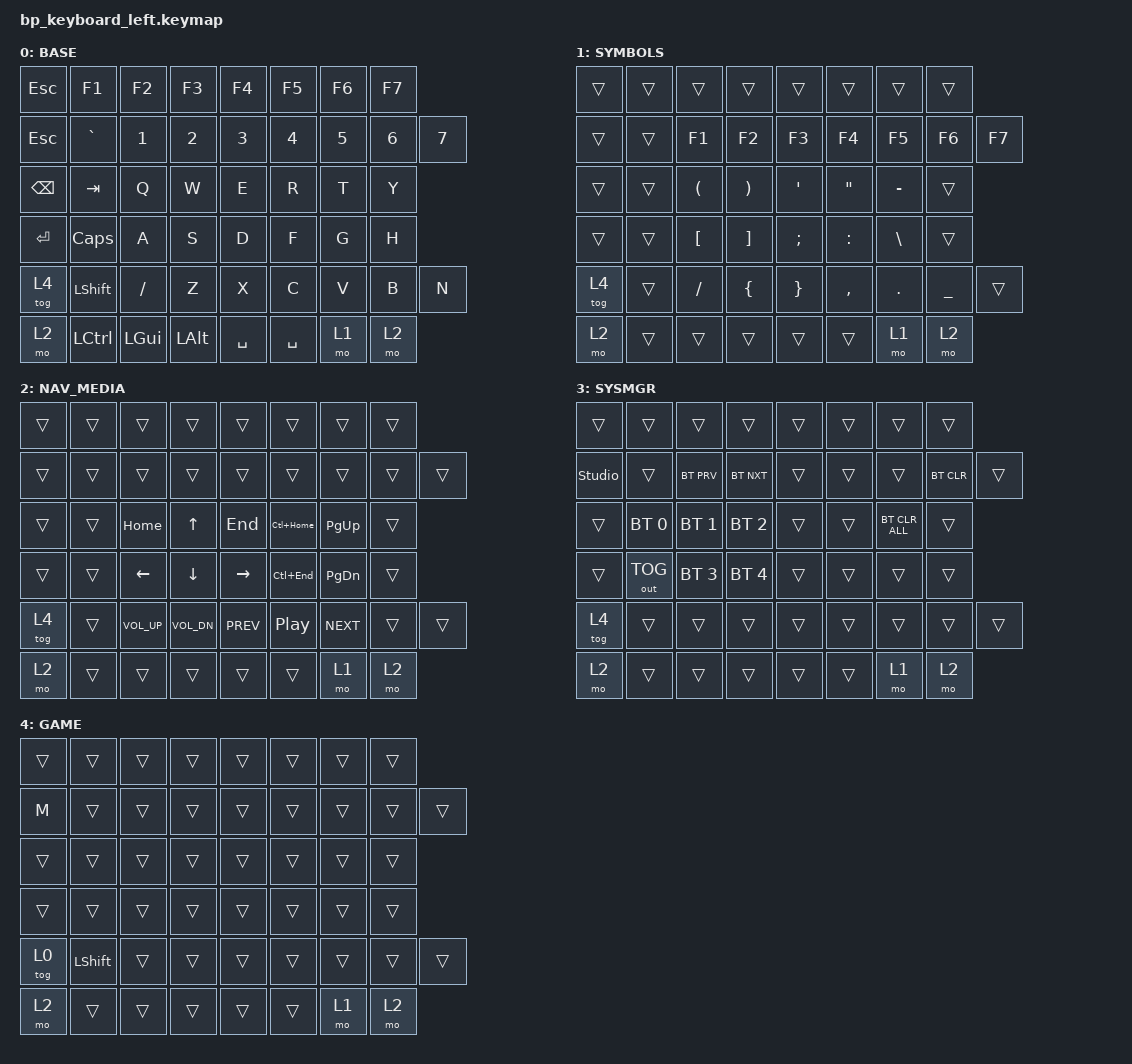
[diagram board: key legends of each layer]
/*
 * Copyright (c) 2026 BP Keyboard
 * SPDX-License-Identifier: MIT
 */

#include <behaviors.dtsi>
#include <dt-bindings/zmk/keys.h>
#include <dt-bindings/zmk/bt.h>
#include <dt-bindings/zmk/outputs.h>

/ {
    keymap {
        compatible = "zmk,keymap";

        // 基础层 - BASE
        default_layer {
            display-name = "BASE";
            bindings = <
// ─────────────────────────────────── 行0 (顶部功能行) 8键 ───────────────────────────────────
//   +-----+ +-----+ +-----+ +-----+ +-----+ +-----+ +-----+ +-----+
//   | Esc | | F1  | | F2  | | F3  | | F4  | | F5  | | F6  | | F7  |
//   +-----+ +-----+ +-----+ +-----+ +-----+ +-----+ +-----+ +-----+
    &kp ESC     &kp F1      &kp F2      &kp F3      &kp F4      &kp F5      &kp F6      &kp F7
// ─────────────────────────────────── 行1 (数字行) 9键 ───────────────────────────────────
//   +-----+ +-----+ +-----+ +-----+ +-----+ +-----+ +-----+ +-----+ +-----+
//   | Esc | |  ¬  | |  !  | |  @  | |  #  | |  $  | |  %  | |  ^  | |  &  |
//   |     | |  `  | |  1  | |  2  | |  3  | |  4  | |  5  | |  6  | |  7  |
//   +-----+ +-----+ +-----+ +-----+ +-----+ +-----+ +-----+ +-----+ +-----+
    &kp ESC     &kp GRAVE   &kp N1      &kp N2      &kp N3      &kp N4      &kp N5      &kp N6      &kp N7
// ─────────────────────────────────── 行2 (Tab行) 8键 ───────────────────────────────────
//   +-----+ +---------+ +-----+ +-----+ +-----+ +-----+ +-----+ +-----+
//   | BSPC| |   Tab   | |  Q  | |  W  | |  E  | |  R  | |  T  | |  Y  |
//   +-----+ +---------+ +-----+ +-----+ +-----+ +-----+ +-----+ +-----+
    &kp BSPC    &kp TAB     &kp Q       &kp W       &kp E       &kp R       &kp T       &kp Y
// ─────────────────────────────────── 行3 (Caps行) 8键 ───────────────────────────────────
//   +-----+ +-----------+ +-----+ +-----+ +-----+ +-----+ +-----+ +-----+
//   | ENT | |   CAPS    | |  A  | |  S  | |  D  | |  F  | |  G  | |  H  |
//   +-----+ +-----------+ +-----+ +-----+ +-----+ +-----+ +-----+ +-----+
    &kp RET     &kp CAPS    &kp A       &kp S       &kp D       &kp F       &kp G       &kp H
// ─────────────────────────────────── 行4 (Shift行) 9键 ───────────────────────────────────
//   +-----+ +-------+ +-----+ +-----+ +-----+ +-----+ +-----+ +-----+ +-----+
//   | TG5 | | Shift | |  ?  | |  Z  | |  X  | |  C  | |  V  | |  B  | |  N  |
//   |     | |       | |  /  | |     | |     | |     | |     | |     | |     |
//   +-----+ +-------+ +-----+ +-----+ +-----+ +-----+ +-----+ +-----+ +-----+
    &tog 4      &kp LSHFT   &kp FSLH    &kp Z       &kp X       &kp C       &kp V       &kp B       &kp N
// ─────────────────────────────────── 行5 (拇指区) 8键 ───────────────────────────────────
//   +-----+ +-------+ +-------+ +-------+   +------+ +------+ +-----+ +-----+
//   | MO2 | | Ctrl  | |  Win  | |  Alt  |   | Space| |Space | | MO1 | | MO2 |
//   +-----+ +-------+ +-------+ +-------+   +------+ +------+ +-----+ +-----+
    &mo 2       &kp LCTRL   &kp LGUI    &kp LALT    &kp SPACE   &kp SPACE   &mo 1       &mo 2
            >;
        };

        // 符号/数字层 - SYMBOLS (MO1)
        sym_layer {
            display-name = "SYMBOLS";
            bindings = <
// ─────────────────────────────────── 行0 (顶部) 全部透传 ───────────────────────────────────
    &trans      &trans      &trans      &trans      &trans      &trans      &trans      &trans
// ─────────────────────────────────── 行1 (数字行) 9键 ───────────────────────────────────
//   +-----+ +-----+ +-----+ +-----+ +-----+ +-----+ +-----+ +-----+ +-----+
//   | --- | | --- | | F1  | | F2  | | F3  | | F4  | | F5  | | F6  | | F7  |
//   +-----+ +-----+ +-----+ +-----+ +-----+ +-----+ +-----+ +-----+ +-----+
    &trans      &trans      &kp F1      &kp F2      &kp F3      &kp F4      &kp F5      &kp F6      &kp F7
// ─────────────────────────────────── 行2 (Tab行) 8键 ───────────────────────────────────
//   +-----+ +---------+ +-----+ +-----+ +-----+ +-----+ +-----+ +-----+
//   | --- | |  -----  | |  (  | |  )  | |  '  | |  "  | |  -  | | --- |
//   +-----+ +---------+ +-----+ +-----+ +-----+ +-----+ +-----+ +-----+
    &trans      &trans      &kp LPAR    &kp RPAR    &kp SQT     &kp DQT     &kp MINUS   &trans
// ─────────────────────────────────── 行3 (Caps行) 8键 ───────────────────────────────────
//   +-----+ +-----------+ +-----+ +-----+ +-----+ +-----+ +-----+ +-----+
//   | --- | |  -------  | |  [  | |  ]  | |  ;  | |  :  | |  \  | | --- |
//   +-----+ +-----------+ +-----+ +-----+ +-----+ +-----+ +-----+ +-----+
    &trans      &trans      &kp LBKT    &kp RBKT    &kp SEMI    &kp COLON   &kp BSLH    &trans
// ─────────────────────────────────── 行4 (Shift行) 9键 ───────────────────────────────────
//   +-----+ +-------+ +-----+ +-----+ +-----+ +-----+ +-----+ +-----+ +-----+
//   | TG5 | |  ---  | |  /  | |  {  | |  }  | |  ,  | |  .  | |  _  | | --- |
//   +-----+ +-------+ +-----+ +-----+ +-----+ +-----+ +-----+ +-----+ +-----+
    &tog 4      &trans      &kp FSLH    &kp LBRC    &kp RBRC    &kp COMMA   &kp DOT     &kp UNDER   &trans
// ─────────────────────────────────── 行5 (拇指区) 8键 ───────────────────────────────────
    &mo 2       &trans      &trans      &trans      &trans      &trans      &mo 1       &mo 2
            >;
        };

        // 导航/媒体层 - NAV_MEDIA (MO2)
        nav_layer {
            display-name = "NAV_MEDIA";
            bindings = <
    &trans      &trans      &trans      &trans      &trans      &trans      &trans      &trans
// ─────────────────────────────────── 行1 (数字行) 全透传 ───────────────────────────────────
    &trans      &trans      &trans      &trans      &trans      &trans      &trans      &trans      &trans
// ─────────────────────────────────── 行2 (Tab行) 8键 ───────────────────────────────────
//   +-----+ +---------+ +------+ +-----+ +-----+ +-----+ +------+ +-----+
//   | --- | |  -----  | | Home | |  ↑  | | End | | Ctrl| | PgUp | | --- |
//   |     | |         | |      | |     | |     | |+Home| |      | |     |
//   +-----+ +---------+ +------+ +-----+ +-----+ +-----+ +------+ +-----+
    &trans      &trans      &kp HOME    &kp UP      &kp END     &kp LC(HOME) &kp PG_UP   &trans
// ─────────────────────────────────── 行3 (Caps行) 8键 ───────────────────────────────────
//   +-----+ +-----------+ +-----+ +-----+ +-----+ +-----+ +------+ +-----+
//   | --- | |  -------  | |  ←  | |  ↓  | |  →  | | Ctrl| | PgDn | | --- |
//   |     | |           | |     | |     | |     | | +End| |      | |     |
//   +-----+ +-----------+ +-----+ +-----+ +-----+ +-----+ +------+ +-----+
    &trans      &trans      &kp LEFT    &kp DOWN    &kp RIGHT   &kp LC(END)  &kp PG_DN   &trans
// ─────────────────────────────────── 行4 (Shift行) 9键 ───────────────────────────────────
//   +-----+ +-------+ +-----+ +-----+ +-----+ +------+ +------+ +------+ +-----+
//   | TG5 | |  ---  | | Vol+| | Vol-| | Prev| |Play/ | | Next | | ---  | | --- |
//   |     | |       | |     | |     | |     | |Pause | |      | |      | |     |
//   +-----+ +-------+ +-----+ +-----+ +-----+ +------+ +------+ +------+ +-----+
    &tog 4      &trans      &kp C_VOL_UP &kp C_VOL_DN &kp C_PREV  &kp C_PP    &kp C_NEXT  &trans      &trans
// ─────────────────────────────────── 行5 (拇指区) 8键 ───────────────────────────────────
    &mo 2       &trans      &trans      &trans      &trans      &trans      &mo 1       &mo 2
            >;
        };

        // 系统管理层 - SYSMGR (MO1+MO2)
        sys_layer {
            display-name = "SYSMGR";
            bindings = <
    &trans      &trans      &trans      &trans      &trans      &trans      &trans      &trans
// ─────────────────────────────────── 行1 (数字行) 9键 ───────────────────────────────────
//   +-----+ +-----+ +-----+ +-----+ +-----+ +-----+ +-----+ +-----+ +-----+
//   |Stu  | | --- | |BT   | |BT   | | --- | | --- | | --- | |BT   | | --- |
//   |Unlk | |     | |Prev | |Next | |     | |     | |     | |Clear| |     |
//   +-----+ +-----+ +-----+ +-----+ +-----+ +-----+ +-----+ +-----+ +-----+
    &studio_unlock &trans   &bt BT_PRV  &bt BT_NXT  &trans      &trans      &trans      &bt BT_CLR  &trans
// ─────────────────────────────────── 行2 (Tab行) 8键 ───────────────────────────────────
//   +-----+ +-------+ +------+ +------+ +-----+ +-----+ +-----+ +-----+
//   | --- | |BT Sel | |BT Sel| |BT Sel| | --- | | --- | |BT   | | --- |
//   |     | |   0   | |   1  | |   2  | |     | |     | |Prof | |     |
//   |     | |       | |      | |      | |     | |     | |Clear| |     |
//   +-----+ +-------+ +------+ +------+ +-----+ +-----+ +-----+ +-----+
    &trans      &bt BT_SEL 0 &bt BT_SEL 1 &bt BT_SEL 2 &trans      &trans      &bt BT_CLR_ALL &trans
// ─────────────────────────────────── 行3 (Caps行) 8键 ───────────────────────────────────
//   +-----+ +----------+ +------+ +------+ +-----+ +-----+ +-----+ +-----+
//   | --- | | Toggle   | |BT Sel| |BT Sel| | --- | | --- | | --- | | --- |
//   |     | | Output   | |   3  | |   4  | |     | |     | |     | |     |
//   +-----+ +----------+ +------+ +------+ +-----+ +-----+ +-----+ +-----+
    &trans      &out OUT_TOG &bt BT_SEL 3 &bt BT_SEL 4 &trans      &trans      &trans      &trans
// ─────────────────────────────────── 行4 (Shift行) 9键 ───────────────────────────────────
    &tog 4      &trans      &trans      &trans      &trans      &trans      &trans      &trans      &trans
// ─────────────────────────────────── 行5 (拇指区) 8键 ───────────────────────────────────
    &mo 2       &trans      &trans      &trans      &trans      &trans      &mo 1       &mo 2
            >;
        };

        // 游戏层 - GAME (TG4)
        game_layer {
            display-name = "GAME";
            bindings = <
    &trans      &trans      &trans      &trans      &trans      &trans      &trans      &trans
// ─────────────────────────────────── 行1 (数字行) 9键 ───────────────────────────────────
//   +-----+ +-----+ +-----+ +-----+ +-----+ +-----+ +-----+ +-----+ +-----+
//   |  M  | | --- | | --- | | --- | | --- | | --- | | --- | | --- | | --- |
//   +-----+ +-----+ +-----+ +-----+ +-----+ +-----+ +-----+ +-----+ +-----+
    &kp M       &trans      &trans      &trans      &trans      &trans      &trans      &trans      &trans
// ─────────────────────────────────── 行2~3 全透传 ───────────────────────────────────
    &trans      &trans      &trans      &trans      &trans      &trans      &trans      &trans
    &trans      &trans      &trans      &trans      &trans      &trans      &trans      &trans
// ─────────────────────────────────── 行4 (Shift行) 9键 ───────────────────────────────────
//   +-----+ +-------+ +-----+ +-----+ +-----+ +-----+ +-----+ +-----+ +-----+
//   | TG5 | | Shift | | --- | | --- | | --- | | --- | | --- | | --- | | --- |
//   +-----+ +-------+ +-----+ +-----+ +-----+ +-----+ +-----+ +-----+ +-----+
    &tog 0      &kp LSHFT   &trans      &trans      &trans      &trans      &trans      &trans      &trans
// ─────────────────────────────────── 行5 (拇指区) 8键 ───────────────────────────────────
    &mo 2       &trans      &trans      &trans      &trans      &trans      &mo 1       &mo 2
            >;
        };
    };
};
